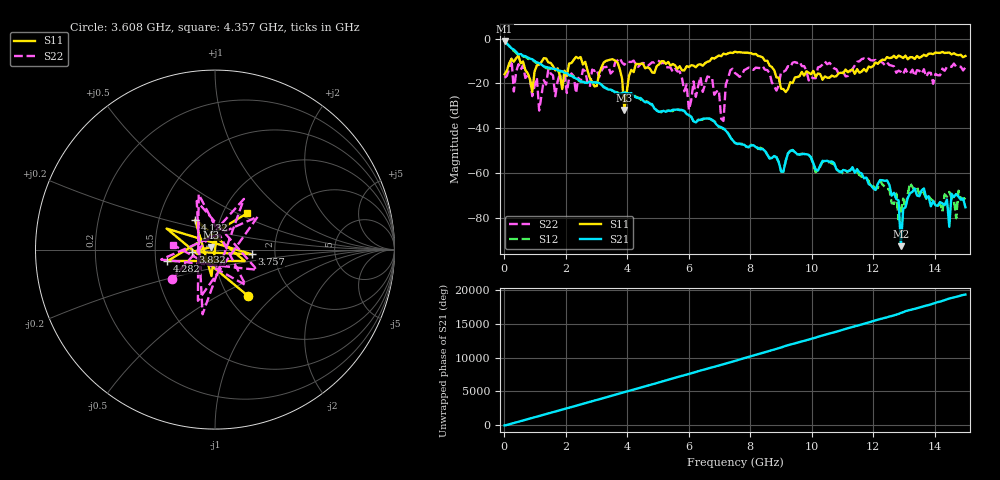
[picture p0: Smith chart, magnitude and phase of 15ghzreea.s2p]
#  HZ  S  RI  R  50.00
! Rohde & Schwarz Vector Network Analyzer
! Rohde-Schwarz,ZNA43-2Port,1332450042101266,2.10
! Created: UTC 11/25/2021, 10:04:07 AM
! freq[Hz]  re:S11  im:S11  re:S21  im:S21  re:S12  im:S12  re:S22  im:S22
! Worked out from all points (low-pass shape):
!   201 points, 10 MHz to 15 GHz, reference 50 ohm
!   highest |S21| = -1.19 dB at 10 MHz (marker M1); lowest = -92.7 dB at 12.9 GHz (marker M2)
!   |S21| within 3 dB of the highest: start of sweep to 221.5 MHz
!   lowest |S11| = -31.9 dB at 3.907 GHz (marker M3), VSWR 1.05, Z = 47.9 + j1.34 ohm
!   |S11| at or under -10 dB: 1.406 GHz to 2.234 GHz (827.7 MHz wide, 45.5 % of centre); 3.616 GHz to 6.684 GHz (3.068 GHz wide, 59.6 % of centre); 8.557 GHz to 12.24 GHz (3.682 GHz wide, 35.4 % of centre) (the widest 3 of 7)
!   |S22| runs from -36.8 to -8.7 dB; largest |S21 - S12| = 0.04
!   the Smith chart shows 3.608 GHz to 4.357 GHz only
!   S11 on the Smith chart (normalised r, x): 3.608 GHz: 1.23, -0.71; 3.757 GHz: 1.51, -0.08; 3.832 GHz: 0.78, -0.02; 4.132 GHz: 0.76, +0.26; 4.282 GHz: 0.58, -0.08; 4.357 GHz: 1.29, +0.56
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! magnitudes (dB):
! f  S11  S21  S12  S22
! 10 MHz  -15.9  -1.2  -0.9  -17.6
! 1.059 GHz  -12.0  -10.6  -11.0  -17.4
! 1.134 GHz  -11.6  -11.0  -11.1  -32.1
! 1.434 GHz  -10.7  -12.9  -13.3  -13.6
! 2.558 GHz  -11.6  -19.3  -19.3  -13.8
! 3.608 GHz  -9.9  -24.0  -23.9  -10.6
! 3.757 GHz  -13.8  -24.8  -24.9  -8.7
! 3.832 GHz  -18.0  -24.3  -24.7  -10.8
! 3.907 GHz  -31.9  -24.1  -24.0  -11.7
! 4.132 GHz  -14.0  -24.3  -24.9  -10.4
! 4.282 GHz  -11.3  -26.3  -25.9  -11.7
! 4.357 GHz  -11.4  -26.6  -26.4  -12.6
! 5.032 GHz  -11.6  -32.7  -32.6  -10.1
! 6.006 GHz  -12.7  -34.2  -34.2  -31.9
! 6.755 GHz  -8.7  -36.2  -36.5  -17.3
! 7.13 GHz  -6.8  -40.1  -40.4  -36.8
! 7.505 GHz  -5.9  -46.5  -46.7  -15.4
! 9.154 GHz  -23.9  -54.6  -54.7  -14.2
! 10.05 GHz  -14.5  -55.6  -56.2  -17.7
! 12.53 GHz  -8.7  -65.3  -67.2  -11.8
! 12.9 GHz  -8.1  -92.7  -76.9  -14.9
! 15 GHz  -7.8  -75.3  -71.1  -12.9
